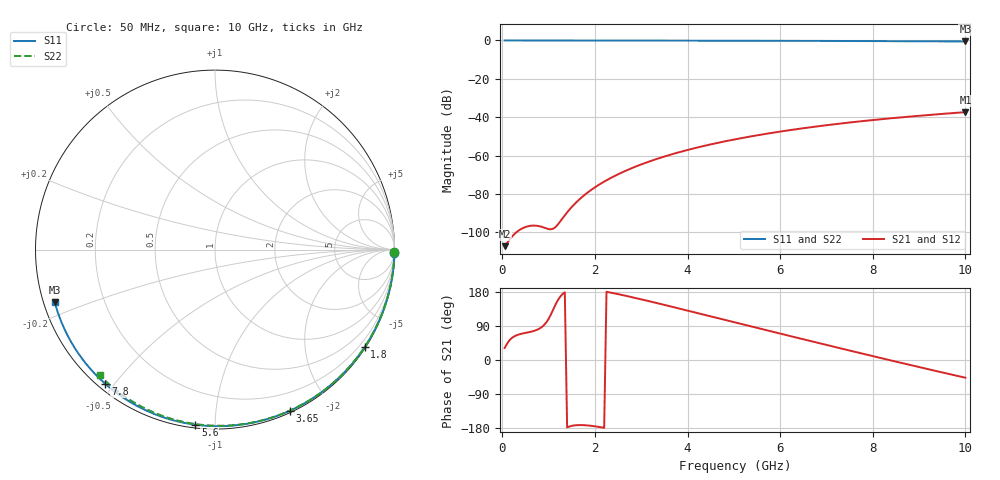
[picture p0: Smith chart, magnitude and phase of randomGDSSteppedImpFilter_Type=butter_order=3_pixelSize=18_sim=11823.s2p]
! freq	dB(S11)	phase(S11)	dB(S12)	phase(S12)
!  dB(S21)	phase(S21)	dB(S22)	phase(S22)
!S-par simulation data
#  GHz  S  DB  R 50
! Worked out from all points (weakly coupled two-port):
!   200 points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, 50 MHz to 10 GHz, reference 50 ohm
!   highest |S21| = -37.34 dB at 10 GHz (marker M1); lowest = -107.2 dB at 50 MHz (marker M2)
!   lowest |S11| = -0.5 dB at 10 GHz (marker M3), VSWR 32.28, Z = 1.59 - j8 ohm
!   |S11| at or under -10 dB: nowhere
!   |S22| runs from -0.4 to 0.0 dB; largest |S21 - S12| = 0
!   S11 on the Smith chart (normalised r, x): 50 MHz: open; 1.8 GHz: 0.03, -3.37; 3.65 GHz: 0.02, -1.56; 5.6 GHz: 0.02, -0.89; 7.8 GHz: 0.02, -0.47; 10 GHz: 0.03, -0.16
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0.05  -0.00 -0.9  -107.16 31.5  -107.16 31.5  -0.00 -0.8
0.45  -0.01 -8.4  -97.67 70.3  -97.67 70.3  -0.01 -6.9
0.85  -0.02 -15.8  -97.07 86.7  -97.07 86.7  -0.02 -12.9
1.3  -0.03 -24.0  -92.69 173.8  -92.69 173.8  -0.02 -19.7
1.75  -0.04 -32.2  -80.99 -171.9  -80.99 -171.9  -0.03 -26.4
1.8  -0.04 -33.1  -80.01 -172.2  -80.01 -172.2  -0.03 -27.1
2.1  -0.05 -38.4  -74.96 -176.8  -74.96 -176.8  -0.04 -31.6
2.3  -0.05 -42.0  -72.17 178.8  -72.17 178.8  -0.04 -34.5
2.5  -0.06 -45.5  -69.71 173.8  -69.71 173.8  -0.05 -37.4
2.9  -0.07 -52.4  -65.50 163.0  -65.50 163.0  -0.06 -43.2
3.4  -0.08 -61.0  -61.21 148.4  -61.21 148.4  -0.07 -50.3
3.65  -0.09 -65.2  -59.37 140.9  -59.37 140.9  -0.07 -53.8
4.3  -0.11 -75.9  -55.25 121.2  -55.25 121.2  -0.09 -62.7
5.05  -0.14 -87.9  -51.39 98.4  -51.39 98.4  -0.11 -72.7
5.6  -0.16 -96.4  -49.01 81.8  -49.01 81.8  -0.13 -79.9
6.15  -0.19 -104.8  -46.92 65.2  -46.92 65.2  -0.15 -86.9
6.7  -0.22 -113.1  -45.07 48.7  -45.07 48.7  -0.18 -93.7
7.25  -0.26 -121.2  -43.42 32.3  -43.42 32.3  -0.21 -100.4
7.8  -0.30 -129.3  -41.95 16.1  -41.95 16.1  -0.25 -107.0
8.35  -0.35 -137.3  -40.63 0.0  -40.63 0.0  -0.29 -113.5
9.2  -0.44 -149.8  -38.84 -24.3  -38.84 -24.3  -0.36 -123.3
10  -0.54 -161.8  -37.34 -46.8  -37.34 -46.8  -0.44 -132.4
